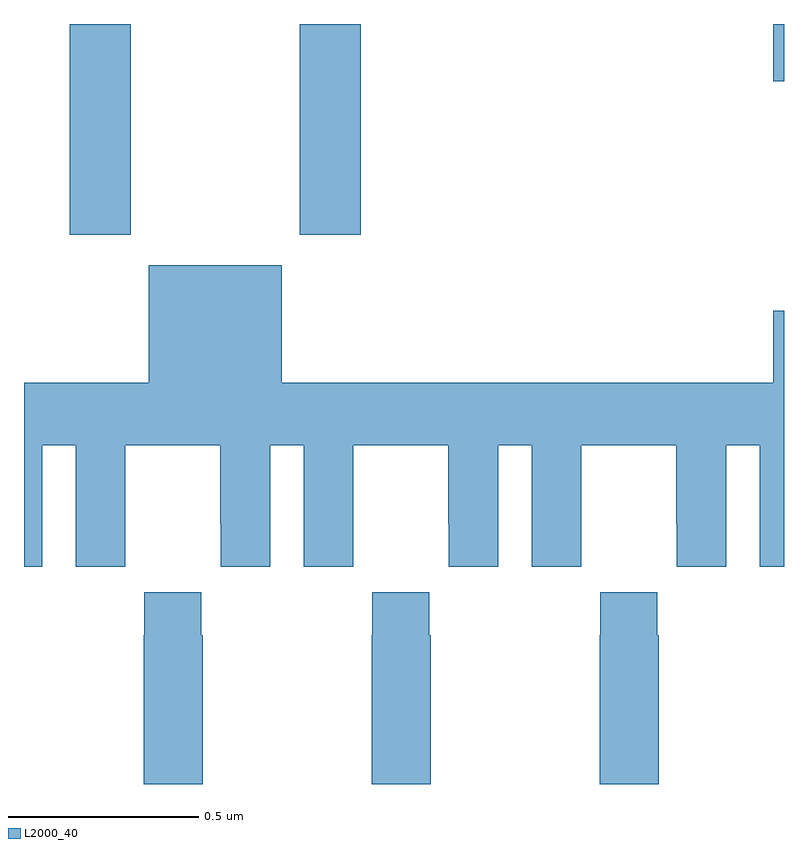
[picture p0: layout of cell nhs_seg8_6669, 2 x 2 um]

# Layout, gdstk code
import gdstk
lib = gdstk.Library(unit=1e-6, precision=1e-09)
def R(c, l, rs):  # rectangles x0, y0, x1, y1
    for r in rs: c.add(gdstk.rectangle(r[:2], r[2:], *l))
def P(c, l, *ps):  # polygons
    for p in ps: c.add(gdstk.Polygon(p, *l))
L2000_40 = (2000, 40)

nhs_seg8_6669 = lib.new_cell('nhs_seg8_6669')
R(nhs_seg8_6669, L2000_40, [(199.121,1158.345,199.281,1158.9), (199.726,1158.345,199.886,1158.9), (200.972,1158.75,201,1158.9)])
P(nhs_seg8_6669, L2000_40, [(199.048,1157.792),(199.136,1157.792),(199.136,1157.472),(199.266,1157.472),(199.266,1157.584),(199.267,1157.584),(199.267,1157.792),(199.517,1157.792),(199.517,1157.584),(199.518,1157.584),(199.518,1157.472),(199.648,1157.472),(199.648,1157.792),(199.736,1157.792),(199.736,1157.472),(199.866,1157.472),(199.866,1157.584),(199.867,1157.584),(199.867,1157.792),(200.117,1157.792),(200.117,1157.584),(200.118,1157.584),(200.118,1157.472),(200.248,1157.472),(200.248,1157.792),(200.336,1157.792),(200.336,1157.472),(200.466,1157.472),(200.466,1157.584),(200.467,1157.584),(200.467,1157.792),(200.717,1157.792),(200.717,1157.584),(200.718,1157.584),(200.718,1157.472),(200.848,1157.472),(200.848,1157.792),(200.936,1157.792),(200.936,1157.472),(201,1157.472),(201,1158.145),(200.972,1158.145),(200.972,1157.956),(199.678,1157.956),(199.678,1158.265),(199.328,1158.265),(199.328,1157.956),(199,1157.956),(199,1157.472),(199.048,1157.472)],
  [(199.47,1157.291),(199.467,1157.291),(199.467,1157.404),(199.317,1157.404),(199.317,1157.291),(199.315,1157.291),(199.315,1156.9),(199.47,1156.9)],
  [(200.07,1157.291),(200.067,1157.291),(200.067,1157.404),(199.917,1157.404),(199.917,1157.291),(199.915,1157.291),(199.915,1156.9),(200.07,1156.9)],
  [(200.67,1157.291),(200.667,1157.291),(200.667,1157.404),(200.517,1157.404),(200.517,1157.291),(200.515,1157.291),(200.515,1156.9),(200.67,1156.9)])

lib.write_gds('nhs_seg8_6669.gds')
